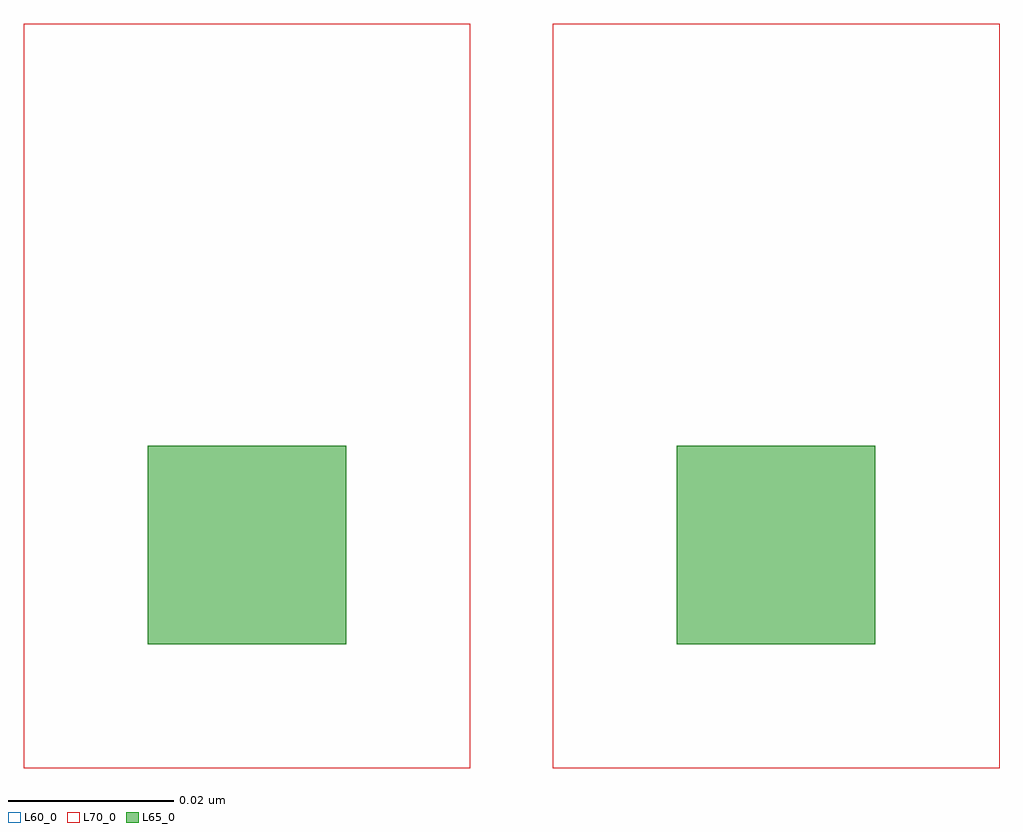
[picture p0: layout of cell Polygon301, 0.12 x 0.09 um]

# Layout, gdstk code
import gdstk
lib = gdstk.Library(unit=1e-6, precision=2.5e-10)
def R(c, l, rs):  # rectangles x0, y0, x1, y1
    for r in rs: c.add(gdstk.rectangle(r[:2], r[2:], *l))
L60_0 = (60, 0)
L65_0 = (65, 0)
L70_0 = (70, 0)

polygon301 = lib.new_cell('Polygon301')
R(polygon301, L60_0, [(-0.015,-0.015,0.039,0.075), (0.049,-0.015,0.103,0.075)])
R(polygon301, L65_0, [(0,0,0.024,0.024), (0.064,0,0.088,0.024)])
R(polygon301, L70_0, [(-0.015,-0.015,0.039,0.075), (0.049,-0.015,0.103,0.075)])

lib.write_gds('Polygon301.gds')
